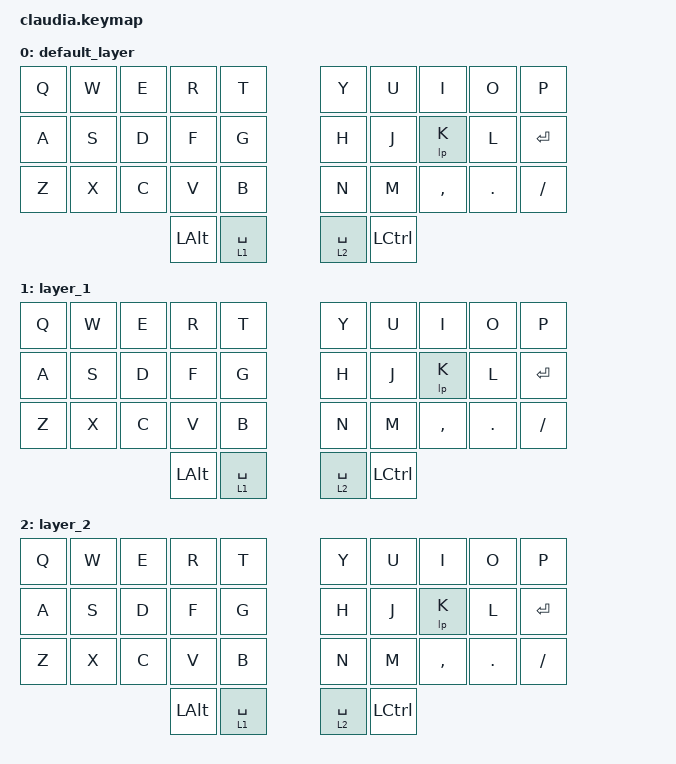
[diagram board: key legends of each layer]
// Copyright (c) 2022 The ZMK Contributors
// SPDX-License-Identifier: MIT

#include <behaviors.dtsi>
#include <dt-bindings/zmk/keys.h>
#include <dt-bindings/zmk/bt.h>

/ {
    keymap {
        compatible = "zmk,keymap";
        default_layer {
            bindings = <
        //╭──────────┬──────────┬──────────┬──────────┬────────────────────┬──────────┬──────────┬──────────┬──────────╮
        //│  Q       │  W       │  E       │  R       │  T       │  Y      │   U      │   I      │   O      │   P      │
            &kp Q      &kp W      &kp E      &kp R      &kp T      &kp Y      &kp U      &kp I      &kp O      &kp P
        //├──────────┼──────────┼──────────┼──────────┼──────────┤─────────┼──────────┼──────────┼──────────┼──────────┤
        //│  A       │  S       │  D       │  F       │  G       │  H      │   J      │   K      │   L      │   ETR    │
            &kp A      &kp S       &kp D      &kp F      &kp G      &kp H      &kp J      &lp K      &kp L    &kp RETURN
        //├──────────┼──────────┼──────────┼──────────┼──────────┤─────────┼──────────┼──────────┼──────────┼──────────┤
        //│  Z       │  X       │  C       │  V       │  B       │  N      │   M      │  , <     │  . >     │  / ?     │
            &kp Z      &kp X      &kp C      &kp V      &kp B      &kp N      &kp M     &kp COMMA  &kp DOT    &kp SLASH
        //╰──────────┴──────────┴──────────┼──────────┼──────────┤─────────┼──────────┼──────────┴──────────┴──────────╯
                                            &kp LALT  &lt 1 SPACE &lt 2 SPACE &kp LCTRL
        //                                 ╰──────────┴────────────────────┴──────────╯
            >;
        };

        layer_1 {
            bindings = <
        //╭──────────┬──────────┬──────────┬──────────┬────────────────────┬──────────┬──────────┬──────────┬──────────╮
        //│  Q       │  W       │  E       │  R       │  T       │  Y      │   U      │   I      │   O      │   P      │
            &kp Q      &kp W      &kp E      &kp R      &kp T      &kp Y      &kp U      &kp I      &kp O      &kp P
        //├──────────┼──────────┼──────────┼──────────┼──────────┤─────────┼──────────┼──────────┼──────────┼──────────┤
        //│  A       │  S       │  D       │  F       │  G       │  H      │   J      │   K      │   L      │   ETR    │
            &kp A      &kp S       &kp D      &kp F      &kp G      &kp H      &kp J      &lp K      &kp L    &kp RETURN
        //├──────────┼──────────┼──────────┼──────────┼──────────┤─────────┼──────────┼──────────┼──────────┼──────────┤
        //│  Z       │  X       │  C       │  V       │  B       │  N      │   M      │  , <     │  . >     │  / ?     │
            &kp Z      &kp X      &kp C      &kp V      &kp B      &kp N      &kp M     &kp COMMA  &kp DOT    &kp FSLH
        //╰──────────┴──────────┴──────────┼──────────┼──────────┤─────────┼──────────┼──────────┴──────────┴──────────╯
                                            &kp LALT  &lt 1 SPACE &lt 2 SPACE &kp LCTRL
        //                                 ╰──────────┴────────────────────┴──────────╯
            >;
        };

        layer_2 {
            bindings = <
        //╭──────────┬──────────┬──────────┬──────────┬────────────────────┬──────────┬──────────┬──────────┬──────────╮
        //│  Q       │  W       │  E       │  R       │  T       │  Y      │   U      │   I      │   O      │   P      │
            &kp Q      &kp W      &kp E      &kp R      &kp T      &kp Y      &kp U      &kp I      &kp O      &kp P
        //├──────────┼──────────┼──────────┼──────────┼──────────┤─────────┼──────────┼──────────┼──────────┼──────────┤
        //│  A       │  S       │  D       │  F       │  G       │  H      │   J      │   K      │   L      │   ETR    │
            &kp A      &kp S       &kp D      &kp F      &kp G      &kp H      &kp J      &lp K      &kp L    &kp RETURN
        //├──────────┼──────────┼──────────┼──────────┼──────────┤─────────┼──────────┼──────────┼──────────┼──────────┤
        //│  Z       │  X       │  C       │  V       │  B       │  N      │   M      │  , <     │  . >     │  / ?     │
            &kp Z      &kp X      &kp C      &kp V      &kp B      &kp N      &kp M     &kp COMMA  &kp DOT    &kp FSLH
        //╰──────────┴──────────┴──────────┼──────────┼──────────┤─────────┼──────────┼──────────┴──────────┴──────────╯
                                            &kp LALT  &lt 1 SPACE &lt 2 SPACE &kp LCTRL
        //                                 ╰──────────┴────────────────────┴──────────╯
            >;
        };
    };
};
